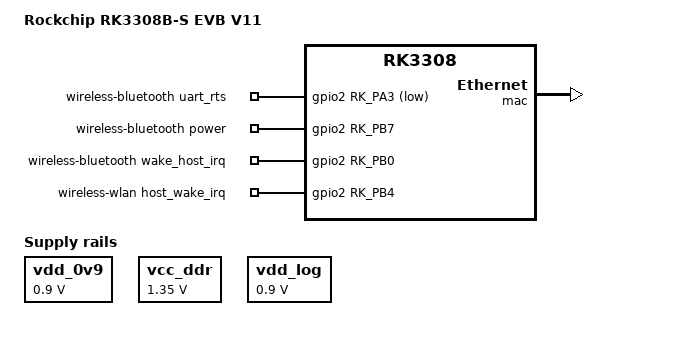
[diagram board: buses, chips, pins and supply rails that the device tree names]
// SPDX-License-Identifier: (GPL-2.0+ OR MIT)
/*
 * Copyright (c) 2021 Rockchip Electronics Co., Ltd
 */

#include <dt-bindings/input/input.h>
#include "rk3308b-evb-v10.dtsi"

/ {
	model = "Rockchip RK3308B-S EVB V11";
	compatible = "rockchip,rk3308bs-evb-v11", "rockchip,rk3308";

	/delete-node/ vdd-1v0;
	/delete-node/ wireless-bluetooth;
	/delete-node/ wireless-wlan;

	vdd_0v9: vdd-0v9 {
		compatible = "regulator-fixed";
		regulator-name = "vdd_0v9";
		regulator-always-on;
		regulator-boot-on;
		regulator-min-microvolt = <900000>;
		regulator-max-microvolt = <900000>;
	};

	wireless-bluetooth {
		compatible = "bluetooth-platdata";
		uart_rts_gpios = <&gpio2 RK_PA3 GPIO_ACTIVE_LOW>;
		pinctrl-names = "default", "rts_gpio";
		pinctrl-0 = <&uart0_rts>;
		pinctrl-1 = <&uart0_rts_pin>;
		BT,power_gpio    = <&gpio2 RK_PB7 GPIO_ACTIVE_HIGH>;
		BT,wake_host_irq = <&gpio2 RK_PB0 GPIO_ACTIVE_HIGH>;
		status = "okay";
	};

	wireless-wlan {
		compatible = "wlan-platdata";
		rockchip,grf = <&grf>;
		pinctrl-names = "default";
		pinctrl-0 = <&wifi_wake_host>, <&rtc_32k>;
		wifi_chip_type = "ap6256";
		WIFI,host_wake_irq = <&gpio2 RK_PB4 GPIO_ACTIVE_HIGH>;
		status = "okay";
	};
};

&acodec_sound {
	status = "disabled";
};

&mac {
	status = "okay";
};

&vcc_ddr {
	regulator-min-microvolt = <1350000>;
	regulator-max-microvolt = <1350000>;
};

&vdd_log {
	regulator-min-microvolt = <900000>;
	regulator-max-microvolt = <900000>;
};
